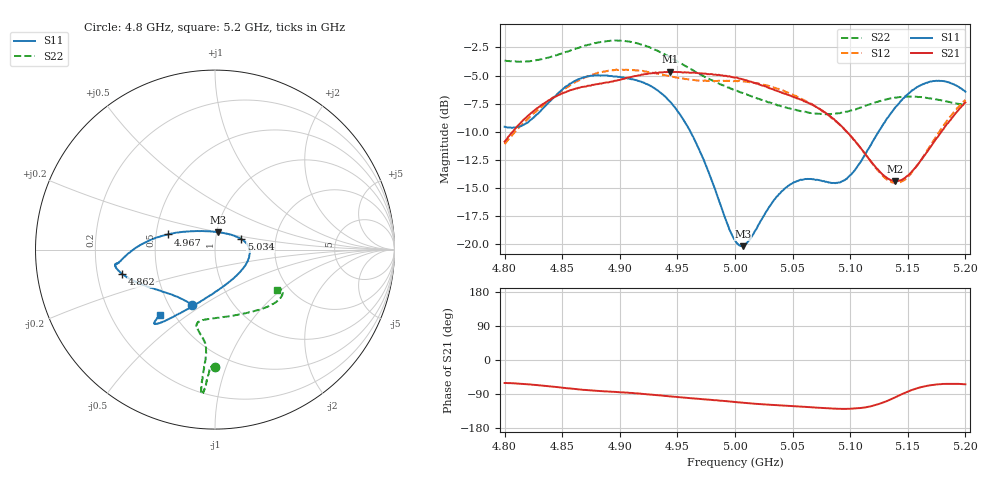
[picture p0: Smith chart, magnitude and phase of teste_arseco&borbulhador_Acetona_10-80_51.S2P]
! Network Analyzer HP8722D
! Hewlett-Packard
! Data name: Linha & Wilkinson
! Saver's name: Rodrigo Anjos
! Comments: Teste da utilização de aquisição
! continua pelo VNA HP8722D
! Time and date: 17/4/2025 14:47
!  Frequency  S11  S21  S12  S22
# HZ  S  MA R 50
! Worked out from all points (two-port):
!   401 points, 4.8 GHz to 5.2 GHz, reference 50 ohm
!   highest |S21| = -4.67 dB at 4.944 GHz (marker M1); lowest = -14.4 dB at 5.139 GHz (marker M2)
!   |S21| within 3 dB of the highest: 4.832 GHz to 5.068 GHz (236.8 MHz wide, 4.78 % of centre); 5.197554 GHz to end of sweep
!   lowest |S11| = -20.2 dB at 5.007 GHz (marker M3), VSWR 1.22, Z = 50.9 + j9.9 ohm
!   |S11| at or under -10 dB: 4.961 GHz to 5.125 GHz (163.3 MHz wide, 3.24 % of centre)
!   |S22| runs from -8.4 to -1.9 dB; largest |S21 - S12| = 0.88
!   S11 on the Smith chart (normalised r, x): 4.8 GHz: 0.65, -0.45; 4.862 GHz: 0.31, -0.12; 4.967 GHz: 0.58, +0.11; 5.034 GHz: 1.33, +0.16; 5.2 GHz: 0.42, -0.40
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4.8e9  0.333 -113.1  0.2858 -60.7  0.2789 -174.9  0.6561 -89.9
4.819e9  0.3459 -132.9  0.3672 -63.8  0.3557 -173.4  0.6502 -91.4
4.862e9  0.5351 -165.4  0.4933 -76.8  0.5289 -176.5  0.7424 -93.7
4.867e9  0.548 -167.3  0.5002 -78.3  0.5435 -177.6  0.7553 -93.8
4.902e9  0.5508 -172.0  0.5417 -85.3  0.5977 175.4  0.8017 -95.3
4.934e9  0.4779 -177.9  0.5804 -93.2  0.5715 172.0  0.718 -95.5
4.944e9  0.4287 177.5  0.5844 -96.2  0.5578 172.0  0.6772 -95.4
4.967e9  0.2767 162.2  0.5778 -102.1  0.534 174.1  0.5779 -94.9
5e9  0.1042 103.5  0.5499 -110.9  0.5334 176.5  0.4836 -99.1
5.007e9  0.09804 79.0  0.5404 -112.8  0.5302 176.4  0.4699 -100.8
5.034e9  0.1577 22.2  0.4856 -119.0  0.4958 175.1  0.4205 -103.5
5.05e9  0.1871 5.7  0.4531 -121.8  0.4626 174.3  0.3981 -99.8
5.067e9  0.1946 -12.4  0.4174 -124.9  0.4195 174.0  0.383 -91.0
5.087e9  0.1869 -44.4  0.3544 -128.4  0.354 173.7  0.3811 -75.9
5.097e9  0.1953 -65.2  0.3163 -128.9  0.3163 174.5  0.3883 -67.6
5.108e9  0.2283 -86.4  0.2722 -126.9  0.2717 177.3  0.4036 -58.8
5.134e9  0.3738 -115.8  0.1941 -105.5  0.1907 -158.3  0.444 -42.9
5.139e9  0.4052 -118.8  0.1906 -98.6  0.1878 -150.5  0.4487 -40.8
5.151e9  0.4694 -124.0  0.204 -82.2  0.2016 -131.7  0.4537 -36.3
5.17e9  0.5287 -128.4  0.272 -66.6  0.2772 -112.7  0.4448 -31.8
5.184e9  0.5271 -129.8  0.3425 -63.0  0.3539 -107.1  0.4316 -30.8
5.2e9  0.4765 -130.2  0.4268 -64.2  0.4387 -106.2  0.4149 -33.1
